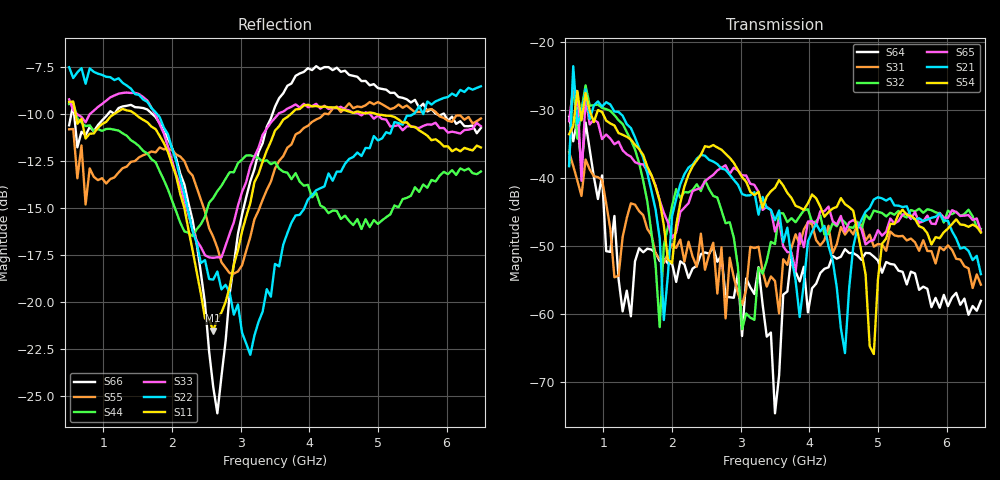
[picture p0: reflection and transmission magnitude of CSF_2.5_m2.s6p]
!Keysight Technologies,M9804A,MY58100912,A.14.10.03
!Date: Thursday, April 27, 2023 10:28:33
!Correction: S11(C  6-Port  )
!S12(C  6-Port  )
!S13(C  6-Port  )
!S14(C  6-Port  )
!S15(C  6-Port  )
!S16(C  6-Port  )
!S21(C  6-Port  )
!S22(C  6-Port  )
!S23(C  6-Port  )
!S24(C  6-Port  )
!S25(C  6-Port  )
!S26(C  6-Port  )
!S31(C  6-Port  )
!S32(C  6-Port  )
!S33(C  6-Port  )
!S34(C  6-Port  )
!S35(C  6-Port  )
!S36(C  6-Port  )
!S41(C  6-Port  )
!S42(C  6-Port  )
!S43(C  6-Port  )
!S44(C  6-Port  )
!S45(C  6-Port  )
!S46(C  6-Port  )
!S51(C  6-Port  )
!S52(C  6-Port  )
!S53(C  6-Port  )
!S54(C  6-Port  )
!S55(C  6-Port  )
!S56(C  6-Port  )
!S61(C  6-Port  )
!S62(C  6-Port  )
!S63(C  6-Port  )
!S64(C  6-Port  )
!S65(C  6-Port  )
!S66(C  6-Port  )
!S6P File: Measurement: :
# Hz S  RI  R 50
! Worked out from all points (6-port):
!   101 points, 500 MHz to 6.5 GHz, reference 50 ohm
!   strongest paths, dB at 500 MHz, 2 GHz, 3.5 GHz, 5 GHz, 6.5 GHz:
!     S54: -33.6, -52.5, -41.4, -54.9, -48.0
!     S21: -38.3, -45.6, -46.2, -42.8, -54.1
!     S65: -31.6, -48.8, -47.9, -47.6, -47.8
!     S32: -38.0, -44.1, -49.7, -45.0, -47.5
!     S31: -36.2, -49.7, -55.1, -49.7, -55.7
!     S64: -31.0, -52.5, -74.6, -52.1, -58.0
!   lowest |S11| = -21.5 dB at 2.6 GHz (marker M1), VSWR 1.18, Z = 42.6 + j2.31 ohm
!   |S11| at or under -10 dB: 594.4 MHz to 1.15 GHz (555.7 MHz wide, 63.7 % of centre); 1.468 GHz to 3.726 GHz (2.258 GHz wide, 87 % of centre); 4.986 GHz to end of sweep
